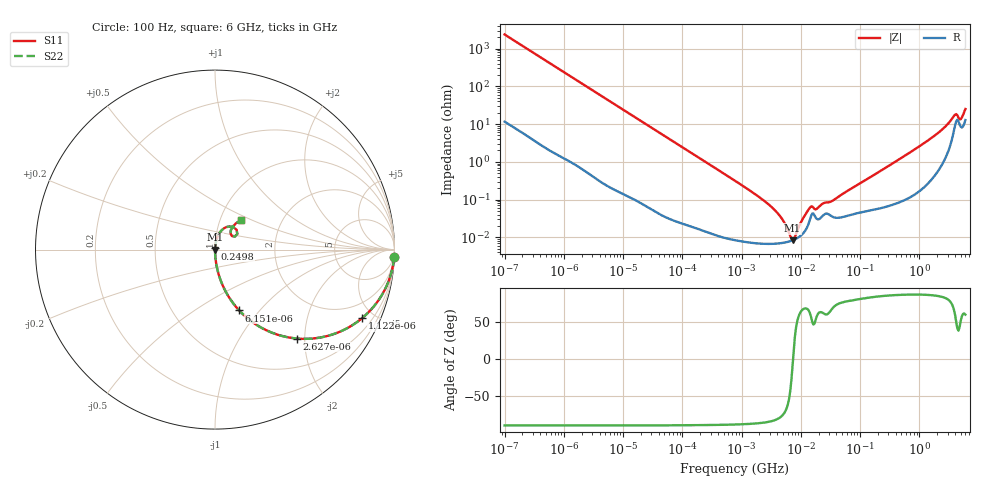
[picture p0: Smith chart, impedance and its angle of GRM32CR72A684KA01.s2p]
!Murata Part Number: GRM32CR72A684KA01
!These Parameters are Measured in Series Mode Connection
!Data Generated on Mar 30, 2021
!  o--ll--o
!Port1  Port2
!  o------o
!Operation Temp=25[degC], DC Bias Voltage=0[V]
!Freq. Start=100[Hz] Stop=6[GHz] 401[Steps]
# Hz S RI R 50
!Freq.(Hz) S11(Real) S11(Imag) S21(Real) S21(Imag) S12(Real) S12(Imag) S22(Real) S22(Imag)
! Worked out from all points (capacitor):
!   401 points, 100 Hz to 6 GHz, reference 50 ohm
!   read as one part in series: C = 667 nF near 109 Hz
!   lowest |Z| = 8.38 mohm at 7.267 MHz (marker M1)
!   series resonance near 7.394 MHz, so ESL is about 690 pH
!   S11 on the Smith chart (normalised r, x): 100 Hz: 1, -48; 1.122 kHz: 1.02, -4.28; 2.627 kHz: 1.01, -1.83; 6.151 kHz: 1.00, -0.78; 249.8 MHz: 1.00, +0.01; 6 GHz: 1.26, +0.43
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100  0.998 -0.0419  0.00196 0.0419  0.00196 0.0419  0.998 -0.0419
479  0.9606 -0.1922  0.0394 0.1922  0.0394 0.1922  0.9606 -0.1922
1122  0.8192 -0.3822  0.1808 0.3822  0.1808 0.3822  0.8192 -0.3822
2008  0.5887 -0.4894  0.4113 0.4894  0.4113 0.4894  0.5887 -0.4894
2627  0.4566 -0.4955  0.5434 0.4955  0.5434 0.4955  0.4566 -0.4955
6151  0.1346 -0.3387  0.8654 0.3387  0.8654 0.3387  0.1346 -0.3387
40335  0.00403 -0.06  0.996 0.06  0.996 0.06  0.00403 -0.06
774597  9.34e-05 -0.00315  0.9999 0.00315  0.9999 0.00315  9.34e-05 -0.00315
3394479  6.73e-05 -0.00058  0.9999 0.00058  0.9999 0.00058  6.73e-05 -0.00058
4856642  7.06e-05 -0.000294  0.9999 0.000294  0.9999 0.000294  7.06e-05 -0.000294
7266822  8.3e-05 -1.18e-05  0.9999 1.18e-05  0.9999 1.18e-05  8.3e-05 -1.18e-05
8311524  9.12e-05 8.2e-05  0.9999 -8.2e-05  0.9999 -8.2e-05  9.12e-05 8.2e-05
1.300572e7  0.000196 0.000455  0.9998 -0.000455  0.9998 -0.000455  0.000196 0.000455
1.555665e7  0.000423 0.000504  0.9996 -0.000504  0.9996 -0.000504  0.000423 0.000504
1.86079e7  0.000307 0.000475  0.9997 -0.000475  0.9997 -0.000475  0.000307 0.000475
3.330331e7  0.000359 0.00083  0.9996 -0.00083  0.9996 -0.00083  0.000359 0.00083
2.497637e8  0.000657 0.00641  0.9993 -0.00641  0.9993 -0.00641  0.000657 0.00641
3.124326e8  0.000744 0.00798  0.9993 -0.00798  0.9993 -0.00798  0.000744 0.00798
1.791126e9  0.00647 0.0481  0.9935 -0.0481  0.9935 -0.0481  0.00647 0.0481
3.8344e9  0.0797 0.1292  0.9203 -0.1292  0.9203 -0.1292  0.0797 0.1292
5.016141e9  0.0867 0.0888  0.9133 -0.0888  0.9133 -0.0888  0.0867 0.0888
6e9  0.1452 0.1639  0.8548 -0.1639  0.8548 -0.1639  0.1452 0.1639
